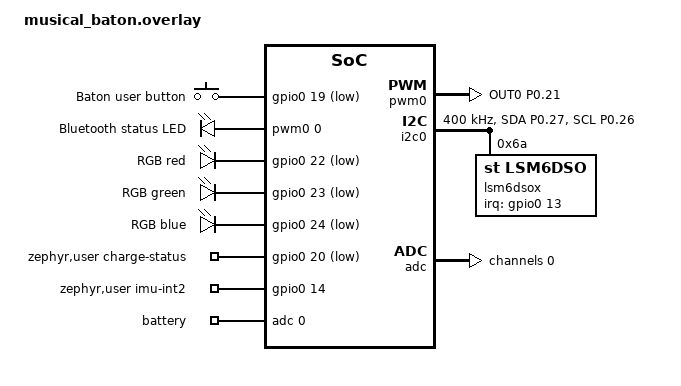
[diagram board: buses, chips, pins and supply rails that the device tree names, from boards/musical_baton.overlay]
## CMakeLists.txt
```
# SPDX-License-Identifier: Apache-2.0

cmake_minimum_required(VERSION 3.20.0)
find_package(Zephyr REQUIRED HINTS $ENV{ZEPHYR_BASE})
project(MusicalBaton)

target_sources(app PRIVATE
  src/main.c
  src/sensor.c
  src/conducting.c
  src/bluetooth.c
  src/device_name.c
  src/name_protocol.c
  src/button.c
  src/led.c
)

target_link_libraries(app PRIVATE m)
```

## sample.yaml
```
sample:
  name: MusicalBaton
tests:
  sample.musical_baton:
    tags:
      - LED
      - gpio
    filter: dt_enabled_alias_with_parent_compat("led0", "gpio-leds")
    depends_on: gpio
    harness: led
    integration_platforms:
      - frdm_k64f
```

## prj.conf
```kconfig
# GPIO and PWM-controlled status LED
CONFIG_GPIO=y
CONFIG_PWM=y

# Allow the long button hold to reboot the system
CONFIG_REBOOT=y

# I2C and Zephyr sensor driver for LSM6DSOX six-axis polling
CONFIG_I2C=y
CONFIG_SENSOR=y
CONFIG_LSM6DSO=y
CONFIG_LSM6DSO_TRIGGER_NONE=y

# Serial console output
CONFIG_SERIAL=y
CONFIG_CONSOLE=y
CONFIG_UART_CONSOLE=y
CONFIG_PRINTK=y
# Send printk directly to UART instead of batching it in the deferred logger.
CONFIG_LOG_PRINTK=n

# Logging
CONFIG_LOG=y
CONFIG_LOG_DEFAULT_LEVEL=3

# Bluetooth Low Energy
CONFIG_BT=y
CONFIG_BT_PERIPHERAL=y
CONFIG_BT_DEVICE_NAME="Smart Baton"
CONFIG_BT_DEVICE_NAME_DYNAMIC=y
CONFIG_BT_DEVICE_NAME_MAX=20
# All writes use the persistent name protocol, not Zephyr's volatile GAP setter.
CONFIG_BT_DEVICE_NAME_GATT_WRITABLE=n
# Application-owned persistent device names in the board's storage partition.
CONFIG_FLASH=y
CONFIG_FLASH_MAP=y
CONFIG_NVS=y
CONFIG_SETTINGS=y
CONFIG_SETTINGS_NVS=y
CONFIG_BT_MAX_CONN=1

# Ask for 15 ms connection events, no skipped events, and 4 s supervision.
# Zephyr requests these after the standard 5 s post-connect delay; iOS decides.
CONFIG_BT_GAP_PERIPHERAL_PREF_PARAMS=y
CONFIG_BT_GAP_AUTO_UPDATE_CONN_PARAMS=y
CONFIG_BT_PERIPHERAL_PREF_MIN_INT=12
CONFIG_BT_PERIPHERAL_PREF_MAX_INT=12
CONFIG_BT_PERIPHERAL_PREF_LATENCY=0
CONFIG_BT_PERIPHERAL_PREF_TIMEOUT=400
```

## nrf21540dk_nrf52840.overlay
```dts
#include <zephyr/dt-bindings/sensor/lsm6dso.h>

/* For more help, browse the devicetree documentation at https://docs.zephyrproject.org/latest/build/dts/index.html
 * You can also visit the nRF DeviceTree extension documentation at https://docs.nordicsemi.com/bundle/nrf-connect-vscode/page/guides/ncs_configure_app.html#devicetree-support-in-the-extension
 */
&pinctrl {
	i2c0_default: i2c0_default {
		group1 {
			psels = <NRF_PSEL(TWIM_SDA, 0, 26)>,
				<NRF_PSEL(TWIM_SCL, 0, 27)>;
		};
	};

	i2c0_sleep: i2c0_sleep {
		group1 {
			psels = <NRF_PSEL(TWIM_SDA, 0, 26)>,
				<NRF_PSEL(TWIM_SCL, 0, 27)>;
			low-power-enable;
		};
	};
};

&i2c0 {
	compatible = "nordic,nrf-twim";
	status = "okay";
	pinctrl-0 = <&i2c0_default>;
	pinctrl-1 = <&i2c0_sleep>;
	pinctrl-names = "default", "sleep";
	clock-frequency = <I2C_BITRATE_FAST>;

	lsm6dsox: imu@6a {
		/* sensor_init() waits for power-up before initializing the driver. */
		zephyr,deferred-init;
		/* Basic LSM6DSOX motion data uses the NCS LSM6DSO driver. */
		compatible = "st,lsm6dso";
		reg = <0x6a>;
		accel-range = <LSM6DSO_DT_FS_4G>;
		accel-odr = <LSM6DSO_DT_ODR_208Hz>;
		/* Accelerometer LPF2: 208 Hz / 10 = approximately 20.8 Hz. */
		accel-lp-filter = <LSM6DSO_DT_LP_ODR_DIV_10>;
		gyro-range = <LSM6DSO_DT_FS_1000DPS>;
		gyro-odr = <LSM6DSO_DT_ODR_208Hz>;
		status = "okay";
	};
};

/ {
	aliases {
		baton-imu = &lsm6dsox;
		baton-button = &button0;
	};
};
```

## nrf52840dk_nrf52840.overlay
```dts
#include <zephyr/dt-bindings/sensor/lsm6dso.h>
#include <zephyr/dt-bindings/pwm/pwm.h>

/ {
	aliases {
		baton-imu = &lsm6dsox;
		/* Development only: DK Button 1 on P0.11.
		 * The custom baton PCB maps its user button to P0.19.
		 */
		baton-button = &button0;

		/* Development only: external LED on exposed Arduino A0 / P0.03. */
		ble-led = &development_ble_led;
	};

	development-leds {
		compatible = "pwm-leds";

		development_ble_led: bluetooth_led {
			/* LED anode -> resistor -> P0.03; cathode -> GND. */
			pwms = <&pwm0 0 PWM_MSEC(1) PWM_POLARITY_NORMAL>;
			label = "Development Bluetooth LED";
		};
	};
};


&pinctrl {
	baton_pwm0_default: baton_pwm0_default {
		group1 {
			psels = <NRF_PSEL(PWM_OUT0, 0, 3)>;
		};
	};

	baton_pwm0_sleep: baton_pwm0_sleep {
		group1 {
			psels = <NRF_PSEL(PWM_OUT0, 0, 3)>;
			low-power-enable;
		};
	};

	/* DK IMU wiring now matches the PCB: SDA P0.27, SCL P0.26. */
	i2c0_default: i2c0_default {
		group1 {
			psels = <NRF_PSEL(TWIM_SDA, 0, 27)>,
				<NRF_PSEL(TWIM_SCL, 0, 26)>;
		};
	};

	i2c0_sleep: i2c0_sleep {
		group1 {
			psels = <NRF_PSEL(TWIM_SDA, 0, 27)>,
				<NRF_PSEL(TWIM_SCL, 0, 26)>;
			low-power-enable;
		};
	};
};

&pwm0 {
	status = "okay";
	pinctrl-0 = <&baton_pwm0_default>;
	pinctrl-1 = <&baton_pwm0_sleep>;
	pinctrl-names = "default", "sleep";
};

&i2c0 {
	compatible = "nordic,nrf-twim";
	status = "okay";

	pinctrl-0 = <&i2c0_default>;
	pinctrl-1 = <&i2c0_sleep>;
	pinctrl-names = "default", "sleep";

	clock-frequency = <I2C_BITRATE_FAST>;

	lsm6dsox: imu@6a {
		/* sensor_init() waits for power-up before initializing the driver. */
		zephyr,deferred-init;
		compatible = "st,lsm6dso";
		reg = <0x6a>;
		/* NCS uses the LSM6DSO driver for basic LSM6DSOX motion data. */
		accel-range = <LSM6DSO_DT_FS_4G>;
		accel-odr = <LSM6DSO_DT_ODR_417Hz>;
		/* Accelerometer LPF2: 416 Hz / 10 = approximately 41.6 Hz. */
		accel-lp-filter = <LSM6DSO_DT_LP_ODR_DIV_10>;
		gyro-range = <LSM6DSO_DT_FS_1000DPS>;
		gyro-odr = <LSM6DSO_DT_ODR_417Hz>;
		status = "okay";
	};
};
```

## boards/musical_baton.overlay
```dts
#include <zephyr/dt-bindings/sensor/lsm6dso.h>
/* Musical Baton custom PCB hardware map.
 *
 * This overlay is for the actual PCB, not the nRF52840 development kit.
 * While the project still builds on the nRF52840 DK board definition, select
 * this file explicitly as DTC_OVERLAY_FILE for a PCB build.
 */

#include <zephyr/dt-bindings/adc/adc.h>
#include <zephyr/dt-bindings/adc/nrf-saadc.h>
#include <zephyr/dt-bindings/gpio/gpio.h>
#include <zephyr/dt-bindings/pwm/pwm.h>

/ {
	aliases {
		baton-imu = &lsm6dsox;
		baton-button = &baton_button;
		ble-led = &ble_led;
		rgb-red-led = &rgb_red_led;
		rgb-green-led = &rgb_green_led;
		rgb-blue-led = &rgb_blue_led;
	};

	baton-buttons {
		compatible = "gpio-keys";

		baton_button: button_0 {
			/* SW1 pulls P0.19 low when pressed. */
			gpios = <&gpio0 19 (GPIO_ACTIVE_LOW | GPIO_PULL_UP)>;
			label = "Baton user button";
		};
	};

	baton-pwm-leds {
		compatible = "pwm-leds";

		/* The separate BLE LED has its cathode connected to ground. */
		ble_led: ble_led {
			pwms = <&pwm0 0 PWM_MSEC(1) PWM_POLARITY_NORMAL>;
			label = "Bluetooth status LED";
		};
	};

	baton-leds {
		compatible = "gpio-leds";

		/* The RGB LED is common-anode, so each color is active-low. */
		rgb_red_led: rgb_red_led {
			gpios = <&gpio0 22 GPIO_ACTIVE_LOW>;
			label = "RGB red";
		};

		rgb_green_led: rgb_green_led {
			gpios = <&gpio0 23 GPIO_ACTIVE_LOW>;
			label = "RGB green";
		};

		rgb_blue_led: rgb_blue_led {
			gpios = <&gpio0 24 GPIO_ACTIVE_LOW>;
			label = "RGB blue";
		};
	};

	/* Application-accessible PCB signals that do not have device drivers yet. */
	zephyr,user {
		io-channels = <&adc 0>;
		io-channel-names = "battery";
		charge-status-gpios = <&gpio0 20 (GPIO_ACTIVE_LOW | GPIO_PULL_UP)>;
		imu-int2-gpios = <&gpio0 14 GPIO_ACTIVE_HIGH>;
	};
};

/* The PCB uses P0.27 for SDA and P0.26 for SCL. */
&pinctrl {
	baton_pwm0_default: baton_pwm0_default {
		group1 {
			psels = <NRF_PSEL(PWM_OUT0, 0, 21)>;
		};
	};

	baton_pwm0_sleep: baton_pwm0_sleep {
		group1 {
			psels = <NRF_PSEL(PWM_OUT0, 0, 21)>;
			low-power-enable;
		};
	};

	baton_i2c0_default: baton_i2c0_default {
		group1 {
			psels = <NRF_PSEL(TWIM_SDA, 0, 27)>,
				<NRF_PSEL(TWIM_SCL, 0, 26)>;
		};
	};

	baton_i2c0_sleep: baton_i2c0_sleep {
		group1 {
			psels = <NRF_PSEL(TWIM_SDA, 0, 27)>,
				<NRF_PSEL(TWIM_SCL, 0, 26)>;
			low-power-enable;
		};
	};
};

&pwm0 {
	status = "okay";
	pinctrl-0 = <&baton_pwm0_default>;
	pinctrl-1 = <&baton_pwm0_sleep>;
	pinctrl-names = "default", "sleep";
};

&i2c0 {
	compatible = "nordic,nrf-twim";
	status = "okay";

	pinctrl-0 = <&baton_i2c0_default>;
	pinctrl-1 = <&baton_i2c0_sleep>;
	pinctrl-names = "default", "sleep";
	clock-frequency = <I2C_BITRATE_FAST>;

	/* LSM6DSOX SA0 is tied low on the PCB, selecting address 0x6A. */
	lsm6dsox: imu@6a {
		/* sensor_init() waits for power-up before initializing the driver. */
		zephyr,deferred-init;
		compatible = "st,lsm6dso";
		reg = <0x6a>;
		/* NCS uses the LSM6DSO driver for basic LSM6DSOX motion data. */
		accel-range = <LSM6DSO_DT_FS_4G>;
		accel-odr = <LSM6DSO_DT_ODR_417Hz>;
		/* Accelerometer LPF2: 416 Hz / 10 = approximately 41.6 Hz. */
		accel-lp-filter = <LSM6DSO_DT_LP_ODR_DIV_10>;
		gyro-range = <LSM6DSO_DT_FS_1000DPS>;
		gyro-odr = <LSM6DSO_DT_ODR_417Hz>;
		status = "okay";

		irq-gpios = <&gpio0 13 GPIO_ACTIVE_HIGH>;
		int-pin = <1>;
	};
};

/* P0.02 is AIN0 and measures the midpoint of the 1 MOhm/1 MOhm divider. */
&adc {
	status = "okay";
	#address-cells = <1>;
	#size-cells = <0>;

	channel@0 {
		reg = <0>;
		zephyr,gain = "ADC_GAIN_1_6";
		zephyr,reference = "ADC_REF_INTERNAL";
		zephyr,acquisition-time = <ADC_ACQ_TIME(ADC_ACQ_TIME_MICROSECONDS, 40)>;
		zephyr,input-positive = <NRF_SAADC_AIN0>;
		zephyr,resolution = <12>;
	};
};

/* These peripherals belong to the development kit and are absent on the PCB. */
&qspi {
	status = "disabled";
};

&led0 {
	status = "disabled";
};

&led1 {
	status = "disabled";
};

&led2 {
	status = "disabled";
};

&led3 {
	status = "disabled";
};

&button0 {
	status = "disabled";
};

&button1 {
	status = "disabled";
};

&button2 {
	status = "disabled";
};

&button3 {
	status = "disabled";
};
```

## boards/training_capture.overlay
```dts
/* Add after the hardware overlay for lossless 416 Hz dataset capture. */
/ {
	training_capture: training-capture {
		status = "okay";
	};
};

&uart0 {
	current-speed = <1000000>;
};
```

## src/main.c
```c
#include <zephyr/kernel.h>
#include <zephyr/device.h>
#include <zephyr/devicetree.h>
#include <zephyr/drivers/uart.h>
#include <zephyr/sys/byteorder.h>
#include <zephyr/sys/printk.h>
#include <zephyr/sys/reboot.h>

#include "bluetooth.h"
#include "button.h"
#include "conducting.h"
#include "led.h"
#include "sensor.h"

/* 1 / 416 Hz, rounded to the nearest whole microsecond. */
#define SENSOR_POLL_INTERVAL_US 2404
#define BLE_PUBLISH_INTERVAL_MS 50
/* Enable temporarily when inspecting raw sensor measurements. */
#define PRINT_MOTION_SAMPLES 0
/* Compact 40 Hz state stream for tuning with real conducting recordings. */
#define PRINT_CONDUCTING_DIAGNOSTICS 1
#define CONDUCTING_DIAGNOSTIC_INTERVAL_MS 25
#define TRAINING_CAPTURE_ENABLED DT_NODE_EXISTS(DT_NODELABEL(training_capture))

/* Adding boards/training_capture.overlay enables lossless 416 Hz binary dataset capture. The receiver scans for
 * the four-byte MBR1 marker, then sequence, timestamp, accel xyz and gyro xyz,
 * all little-endian. Disable ordinary diagnostics to preserve UART bandwidth. */
#if TRAINING_CAPTURE_ENABLED
static const struct device *const training_uart =
	DEVICE_DT_GET(DT_CHOSEN(zephyr_console));

static void stream_training_sample(const struct motion_sample *sample)
{
	static uint16_t sequence;
	uint8_t packet[22] = {'M', 'B', 'R', '1'};

	sys_put_le16(sequence++, &packet[4]);
	sys_put_le32(sample->timestamp_ms, &packet[6]);
	sys_put_le16((uint16_t)sample->accel_x_mg, &packet[10]);
	sys_put_le16((uint16_t)sample->accel_y_mg, &packet[12]);
	sys_put_le16((uint16_t)sample->accel_z_mg, &packet[14]);
	sys_put_le16((uint16_t)sample->gyro_x_dps_tenths, &packet[16]);
	sys_put_le16((uint16_t)sample->gyro_y_dps_tenths, &packet[18]);
	sys_put_le16((uint16_t)sample->gyro_z_dps_tenths, &packet[20]);

	for (size_t i = 0; i < sizeof(packet); i++) {
		uart_poll_out(training_uart, packet[i]);
	}
}
#endif

K_MSGQ_DEFINE(button_event_queue,
	      sizeof(struct button_event),
	      8,
	      4);

static void on_button_event(const struct button_event *event)
{
	/* Do not block inside the button handler. */
	k_msgq_put(&button_event_queue, event, K_NO_WAIT);
}

int main(void)
{
	int ret;
	int64_t next_ble_ms;
	int64_t next_diagnostic_ms;
	struct conducting_detector detector;
	conducting_reset(&detector);

	ret = led_init();
	if (ret < 0) {
		printk("LED initialization failed: %d\n", ret);
		return 0;
	}

	ret = sensor_init();
	if (ret < 0) {
		return 0;
	}

	ret = button_init(on_button_event);
	if (ret < 0) {
		printk("Button initialization failed: %d\n", ret);
		return 0;
	}

	ret = bluetooth_init();
	if (ret < 0) {
		return 0;
	}

	printk("Triple-press to toggle Bluetooth\n");
	printk("Double-press to recalibrate: hold still afterward\n");
	printk("Experimental beat detector: hold still for one second to calibrate\n");
	next_ble_ms = k_uptime_get();
	next_diagnostic_ms = next_ble_ms;

	while (1) {
		/* Use a fresh deadline each cycle; do not catch up in bursts. */
		int64_t cycle_start_us = k_ticks_to_us_floor64(k_uptime_ticks());
		int64_t cycle_start_ms = cycle_start_us / 1000;
		int64_t next_sample_us = cycle_start_us + SENSOR_POLL_INTERVAL_US;
		struct button_event event;
		struct motion_sample sample;


		while (k_msgq_get(&button_event_queue,
				  &event,
				  K_NO_WAIT) == 0) {
			if (event.type == BUTTON_EVENT_PRESSED) {
				printk("Baton button pressed\n");
			}

			if (event.type == BUTTON_EVENT_LONG_HOLD) {
				printk("Ten-second hold: rebooting\n");
				k_sleep(K_MSEC(100));
				sys_reboot(SYS_REBOOT_COLD);
			}

			if (event.type == BUTTON_EVENT_CLICKS) {
				printk("Detected %u clicks\n",
				       event.click_count);

				if (event.click_count == 2) {
					/* Reset on the main thread, after the complete click
					 * sequence; a triple-click must not recalibrate.
					 */
					conducting_reset(&detector);
					conducting_set_sensitivity(&detector,
						bluetooth_conducting_sensitivity());
					printk("Recalibration requested: hold still for one second\n");
				} else if (event.click_count == 3) {
					printk("Triple-click detected\n");

					if (bluetooth_is_active()) {
						ret = bluetooth_deactivate();
					} else {
						ret = bluetooth_activate();
					}

					if (ret < 0) {
						printk("Bluetooth toggle failed: %d\n", ret);
					}
				}
			}
		}

		ret = sensor_read(&sample);
		if (ret < 0) {
			printk("Sensor read failed: %d\n", ret);
			k_sleep(K_SECONDS(1));
			continue;
		}

		/* Submit beats before motion telemetry or UART work from this cycle. */
		bool was_calibrated = detector.calibrated;
		conducting_set_sensitivity(&detector, bluetooth_conducting_sensitivity());
		struct conducting_beat beat;
		bool have_beat = conducting_process(&detector, &sample, &beat);
		if (have_beat) {
			ret = bluetooth_publish_beat(beat.timestamp_ms, beat.bpm_tenths,
						     beat.strength);
			if (ret < 0) {
				printk("Bluetooth beat notification failed: %d\n", ret);
			}
		}

		/* Gate on cycle start so fetch jitter cannot skip alternate samples.
		 * Never retry a failed notification or catch up missed deadlines.
		 */
		if (bluetooth_is_active() && cycle_start_ms >= next_ble_ms) {
			next_ble_ms = cycle_start_ms + BLE_PUBLISH_INTERVAL_MS;
			const struct bluetooth_motion_sample motion_sample = {
				.timestamp_ms = sample.timestamp_ms,
				.flags = BLUETOOTH_MOTION_FLAG_ACCEL_VALID |
					 BLUETOOTH_MOTION_FLAG_GYRO_VALID,
				.accel_x_mg = sample.accel_x_mg,
				.accel_y_mg = sample.accel_y_mg,
				.accel_z_mg = sample.accel_z_mg,
				.gyro_x_dps_tenths = sample.gyro_x_dps_tenths,
				.gyro_y_dps_tenths = sample.gyro_y_dps_tenths,
				.gyro_z_dps_tenths = sample.gyro_z_dps_tenths,
			};

			ret = bluetooth_publish(&motion_sample);

			if (ret < 0) {
				printk("Bluetooth publish failed: %d\n",
				       ret);
			}
		}

		if (have_beat) {
			printk("BEAT: t=%u detected=%u strength=%u BPM=%u.%u\n",
			       beat.timestamp_ms, beat.detected_ms, beat.strength,
			       beat.bpm_tenths / 10, beat.bpm_tenths % 10);
		}
		if (detector.calibrated != was_calibrated) {
			printk(detector.calibrated ? "Beat detector calibrated\n" :
			       "Beat detector reset: hold still for one second\n");
		}

#if TRAINING_CAPTURE_ENABLED
		stream_training_sample(&sample);
#endif
#if PRINT_CONDUCTING_DIAGNOSTICS && !TRAINING_CAPTURE_ENABLED
		if (!bluetooth_is_connected() && cycle_start_ms >= next_diagnostic_ms) {
			next_diagnostic_ms = cycle_start_ms +
				CONDUCTING_DIAGNOSTIC_INTERVAL_MS;
			/* CD: time, gyro xyz (0.1 dps), accel xyz (mg),
			 * smoothed speed (0.1 dps),
			 * linear acceleration (mg), armed, release (0.1 dps),
			 * followed by eight reserved compatibility fields (currently zero).
			 */
			printk("CD,%u,%d,%d,%d,%d,%d,%d,%d,%d,%u,%d,%u,%u,%u,%d,%d,%u,%d\n",
			       sample.timestamp_ms,
			       sample.gyro_x_dps_tenths,
			       sample.gyro_y_dps_tenths,
			       sample.gyro_z_dps_tenths,
			       sample.accel_x_mg,
			       sample.accel_y_mg,
			       sample.accel_z_mg,
			       (int)(detector.speed * 10.0f),
			       0,
			       detector.armed,
			       (int)(detector.release_dps * 10.0f),
			       0, 0, 0, 0, 0, 0, 0);
		}
#endif
#if PRINT_MOTION_SAMPLES
		printk("IMU accel [mg]: X=%d Y=%d Z=%d | "
		       "gyro [0.1 deg/s]: X=%d Y=%d Z=%d\n",
		       sample.accel_x_mg, sample.accel_y_mg,
		       sample.accel_z_mg, sample.gyro_x_dps_tenths,
		       sample.gyro_y_dps_tenths, sample.gyro_z_dps_tenths);
#endif

		k_sleep(K_TIMEOUT_ABS_US(next_sample_us));
	}
}
```

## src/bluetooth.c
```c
#include "bluetooth.h"
#include "led.h"
#include "device_name.h"

#include <stdbool.h>
#include <string.h>
#include <zephyr/kernel.h>
#include <zephyr/sys/atomic.h>
#include <zephyr/sys/printk.h>
#include <zephyr/sys/byteorder.h>
#include <zephyr/bluetooth/bluetooth.h>
#include <zephyr/bluetooth/conn.h>
#include <zephyr/bluetooth/gatt.h>
#include <zephyr/bluetooth/hci.h>
#include <zephyr/bluetooth/uuid.h>

/*
 * Custom Bluetooth UUIDs
 *
 * Service:
 * 12345678-1234-5678-1234-56789abcdef0
 *
 * Motion characteristic:
 * 12345678-1234-5678-1234-56789abcdef1
 */
#define BT_UUID_MOTION_SERVICE_VAL \
	BT_UUID_128_ENCODE(0x12345678, 0x1234, 0x5678, \
			   0x1234, 0x56789abcdef0)

#define BT_UUID_MOTION_DATA_VAL \
	BT_UUID_128_ENCODE(0x12345678, 0x1234, 0x5678, \
			   0x1234, 0x56789abcdef1)

static struct bt_uuid_128 motion_service_uuid =
	BT_UUID_INIT_128(BT_UUID_MOTION_SERVICE_VAL);

static struct bt_uuid_128 motion_data_uuid =
	BT_UUID_INIT_128(BT_UUID_MOTION_DATA_VAL);

static struct bt_uuid_128 beat_data_uuid = BT_UUID_INIT_128(
	BT_UUID_128_ENCODE(0x12345678, 0x1234, 0x5678, 0x1234, 0x56789abcdef2));
static uint16_t beat_sequence;
static struct bt_uuid_128 conducting_settings_uuid = BT_UUID_INIT_128(
	BT_UUID_128_ENCODE(0x12345678, 0x1234, 0x5678, 0x1234, 0x56789abcdef3));
static struct bt_uuid_128 device_name_uuid = BT_UUID_INIT_128(
    BT_UUID_128_ENCODE(0x12345678, 0x1234, 0x5678, 0x1234, 0x56789abcdef4));
static atomic_t conducting_sensitivity;

static ssize_t read_device_name(struct bt_conn *conn, const struct bt_gatt_attr *attr,
                               void *buf, uint16_t len, uint16_t offset)
{
    uint8_t value[BATON_NAME_VALUE_MAX];
    size_t count = baton_device_name_snapshot(value);
    return bt_gatt_attr_read(conn, attr, buf, len, offset, value, count);
}

static ssize_t write_device_name(struct bt_conn *conn, const struct bt_gatt_attr *attr,
                                const void *buf, uint16_t len, uint16_t offset, uint8_t flags)
{
    ARG_UNUSED(conn);
    ARG_UNUSED(attr);
    if (flags & BT_GATT_WRITE_FLAG_PREPARE) { return BT_GATT_ERR(BT_ATT_ERR_NOT_SUPPORTED); }
    if (offset != 0) { return BT_GATT_ERR(BT_ATT_ERR_INVALID_OFFSET); }
    if (len == 0 || len > BATON_NAME_MAX_BYTES) { return BT_GATT_ERR(BT_ATT_ERR_INVALID_ATTRIBUTE_LEN); }
    int ret = baton_device_name_request(buf, len);
    if (ret == -EINVAL) { return BT_GATT_ERR(BT_ATT_ERR_VALUE_NOT_ALLOWED); }
    if (ret < 0) { return BT_GATT_ERR(BT_ATT_ERR_UNLIKELY); }
    return len;
}

uint8_t bluetooth_conducting_sensitivity(void)
{
	return (uint8_t)atomic_get(&conducting_sensitivity);
}

static ssize_t read_conducting_settings(struct bt_conn *conn,
	const struct bt_gatt_attr *attr, void *buf, uint16_t len, uint16_t offset)
{
	uint8_t packet[] = {1, 1, bluetooth_conducting_sensitivity(), 0};
	return bt_gatt_attr_read(conn, attr, buf, len, offset, packet, sizeof(packet));
}

static ssize_t write_conducting_settings(struct bt_conn *conn,
	const struct bt_gatt_attr *attr, const void *buf, uint16_t len,
	uint16_t offset, uint8_t flags)
{
	ARG_UNUSED(conn);
	ARG_UNUSED(attr);
	if (flags & BT_GATT_WRITE_FLAG_PREPARE) {
		return BT_GATT_ERR(BT_ATT_ERR_NOT_SUPPORTED);
	}
	if (offset != 0) {
		return BT_GATT_ERR(BT_ATT_ERR_INVALID_OFFSET);
	}
	if (len != 4) {
		return BT_GATT_ERR(BT_ATT_ERR_INVALID_ATTRIBUTE_LEN);
	}
	const uint8_t *packet = buf;
	if (packet[0] != 1 || packet[1] != 1 || packet[2] > 2 || packet[3] != 0) {
		return BT_GATT_ERR(BT_ATT_ERR_VALUE_NOT_ALLOWED);
	}
	/* The sampling thread applies this; never mutate detector state in BLE. */
	atomic_set(&conducting_sensitivity, packet[2]);
	return len;
}

/*
 * Fixed 20-byte motion packet, encoded explicitly in little-endian order:
 *
 * Byte 0:     packet version
 * Byte 1:     validity/status flags
 * Bytes 2-3:  sequence number
 * Bytes 4-7:  nRF uptime timestamp in milliseconds
 * Bytes 8-13: accelerometer X/Y/Z in mg
 * Bytes 14-19: gyroscope X/Y/Z in tenths of a degree per second
 */
#define MOTION_PACKET_SIZE 20U
#define ADVERTISING_TIMEOUT_MS 60000

static uint8_t motion_packet[MOTION_PACKET_SIZE];
static uint16_t motion_sequence;

static bool notifications_enabled;
static bool bluetooth_initialized;
static atomic_t bluetooth_active;
static atomic_t advertising;
static atomic_t phone_connected;

bool bluetooth_is_connected(void)
{
	return atomic_get(&phone_connected) != 0;
}

static struct bt_conn *current_connection;
static int64_t advertising_deadline_ms;
static K_MUTEX_DEFINE(connection_mutex);
static K_MUTEX_DEFINE(motion_packet_mutex);

/*
 * Called when the phone reads the characteristic manually.
 */
static ssize_t read_motion(
	struct bt_conn *conn,
	const struct bt_gatt_attr *attr,
	void *buf,
	uint16_t len,
	uint16_t offset)
{
	ssize_t result;

	k_mutex_lock(&motion_packet_mutex, K_FOREVER);
	result = bt_gatt_attr_read(
		conn,
		attr,
		buf,
		len,
		offset,
		motion_packet,
		sizeof(motion_packet)
	);
	k_mutex_unlock(&motion_packet_mutex);

	return result;
}

/*
 * Called when the phone enables or disables notifications.
 */
static void motion_ccc_changed(
	const struct bt_gatt_attr *attr,
	uint16_t value)
{
	ARG_UNUSED(attr);

	notifications_enabled = (value == BT_GATT_CCC_NOTIFY);

	printk(
		"Notifications %s\n",
		notifications_enabled ? "enabled" : "disabled"
	);
}

/*
 * Attribute indexes:
 *
 * motion_service.attrs[0] = primary service
 * motion_service.attrs[1] = characteristic declaration
 * motion_service.attrs[2] = characteristic value
 * motion_service.attrs[3] = CCC descriptor
 */
BT_GATT_SERVICE_DEFINE(
	motion_service,

	BT_GATT_PRIMARY_SERVICE(&motion_service_uuid),

	BT_GATT_CHARACTERISTIC(
		&motion_data_uuid.uuid,
		BT_GATT_CHRC_READ | BT_GATT_CHRC_NOTIFY,
		BT_GATT_PERM_READ,
		read_motion,
		NULL,
		motion_packet
	),

	BT_GATT_CCC(
		motion_ccc_changed,
		BT_GATT_PERM_READ | BT_GATT_PERM_WRITE
	),
	/* Notify-only: subscribing must never replay an old beat as a sound. */
	BT_GATT_CHARACTERISTIC(&beat_data_uuid.uuid, BT_GATT_CHRC_NOTIFY,
			       BT_GATT_PERM_NONE, NULL, NULL, NULL),
	BT_GATT_CCC(NULL, BT_GATT_PERM_READ | BT_GATT_PERM_WRITE),
	BT_GATT_CHARACTERISTIC(&conducting_settings_uuid.uuid,
		BT_GATT_CHRC_READ | BT_GATT_CHRC_WRITE,
		BT_GATT_PERM_READ | BT_GATT_PERM_WRITE,
		read_conducting_settings, write_conducting_settings, NULL),
    /* Append only: existing motion/beat attribute indexes remain unchanged. */
    BT_GATT_CHARACTERISTIC(&device_name_uuid.uuid,
        BT_GATT_CHRC_READ | BT_GATT_CHRC_WRITE,
        BT_GATT_PERM_READ | BT_GATT_PERM_WRITE,
        read_device_name, write_device_name, NULL)
);

/* Shared baton type identifier stays constant when a device is renamed.
 * Flags + full 128-bit UUID use 21 of the 31 legacy advertising bytes.
 * The complete current name (up to 20 UTF-8 bytes) fits in the scan response.
 */
static const struct bt_data advertising_data[] = {
    BT_DATA_BYTES(BT_DATA_FLAGS, BT_LE_AD_GENERAL | BT_LE_AD_NO_BREDR),
    BT_DATA_BYTES(BT_DATA_UUID128_ALL, BT_UUID_MOTION_SERVICE_VAL)
};

static void advertising_timeout_handler(struct k_work *work);
static K_WORK_DELAYABLE_DEFINE(advertising_timeout_work,
			       advertising_timeout_handler);

static void advertising_timeout_handler(struct k_work *work)
{
	ARG_UNUSED(work);

	/* Serialize expiry with connection acceptance and advertising starts. */
	k_mutex_lock(&connection_mutex, K_FOREVER);
	if (!atomic_get(&bluetooth_active) || !atomic_get(&advertising) ||
	    current_connection != NULL) {
		k_mutex_unlock(&connection_mutex);
		return;
	}

	int64_t remaining_ms = advertising_deadline_ms - k_uptime_get();

	if (remaining_ms > 0) {
		/* An old queued expiry must not close a newly opened window. */
		k_work_reschedule(&advertising_timeout_work, K_MSEC(remaining_ms));
		k_mutex_unlock(&connection_mutex);
		return;
	}

	int ret = bt_le_adv_stop();

	if (ret < 0) {
		printk("Advertising timeout: failed to stop (%d); retrying\n", ret);
		k_work_reschedule(&advertising_timeout_work, K_SECONDS(1));
		k_mutex_unlock(&connection_mutex);
		return;
	}

	atomic_clear(&advertising);
	atomic_clear(&bluetooth_active);
	led_set_bluetooth_state(LED_BLUETOOTH_OFF);
	printk("Advertising timed out after 60 seconds; Bluetooth inactive. "
	       "Triple-press to restart\n");
	k_mutex_unlock(&connection_mutex);
}

static int start_advertising(void)
{
	int ret;

	k_mutex_lock(&connection_mutex, K_FOREVER);
	if (!atomic_get(&bluetooth_active)) {
		k_mutex_unlock(&connection_mutex);
		return -EACCES;
	}

	if (atomic_get(&advertising) || current_connection != NULL) {
		k_mutex_unlock(&connection_mutex);
		return 0;
	}

    char name[BATON_NAME_MAX_BYTES + 1];
    baton_device_name_copy(name);
    const struct bt_data scan_response_data[] = {
        BT_DATA(BT_DATA_NAME_COMPLETE, name, strlen(name))
    };

	ret = bt_le_adv_start(
		BT_LE_ADV_CONN_FAST_1,
		advertising_data,
		ARRAY_SIZE(advertising_data),
		scan_response_data,
		ARRAY_SIZE(scan_response_data)
	);

	if (ret < 0) {
		printk("Advertising failed: %d\n", ret);
		k_mutex_unlock(&connection_mutex);
		return ret;
	}

	atomic_set(&advertising, 1);
	advertising_deadline_ms = k_uptime_get() + ADVERTISING_TIMEOUT_MS;
	k_work_reschedule(&advertising_timeout_work,
			  K_MSEC(ADVERTISING_TIMEOUT_MS));
	led_set_bluetooth_state(LED_BLUETOOTH_ADVERTISING);
	printk("Advertising as %s (60-second connection window)\n",
	       name);
	k_mutex_unlock(&connection_mutex);

	return 0;
}

static void advertising_restart_handler(struct k_work *work)
{
	int ret;

	if (!atomic_get(&bluetooth_active)) {
		return;
	}

	ret = start_advertising();
	if (ret < 0 && atomic_get(&bluetooth_active)) {
		printk("Retrying advertising restart\n");
		k_work_reschedule(k_work_delayable_from_work(work),
				  K_MSEC(500));
	}
}

static K_WORK_DELAYABLE_DEFINE(advertising_restart_work,
			       advertising_restart_handler);

static void schedule_advertising_restart(void)
{
	if (atomic_get(&bluetooth_active)) {
		k_work_reschedule(&advertising_restart_work, K_MSEC(100));
	}
}

static void log_link_parameters(uint16_t interval, uint16_t latency, uint16_t timeout)
{
	/* Interval unit 1.25 ms, supervision unit 10 ms. Actual negotiated values. */
	printk("BLE link: interval=%u.%02u ms latency=%u timeout=%u ms\n",
	       interval * 125U / 100U, interval * 125U % 100U,
	       latency, timeout * 10U);
}

static void le_param_updated(struct bt_conn *conn, uint16_t interval,
			     uint16_t latency, uint16_t timeout)
{
	ARG_UNUSED(conn);
	log_link_parameters(interval, latency, timeout);
}

static void connected(struct bt_conn *conn, uint8_t err)
{
	if (err != 0U) {
		printk("Bluetooth connection failed: 0x%02x\n", err);
		atomic_clear(&advertising);
		schedule_advertising_restart();
		return;
	}

	k_mutex_lock(&connection_mutex, K_FOREVER);
	atomic_clear(&advertising);
	k_work_cancel_delayable(&advertising_timeout_work);

	/* A deactivation may race with the controller completing a connection. */
	if (!atomic_get(&bluetooth_active)) {
		k_mutex_unlock(&connection_mutex);
		bt_conn_disconnect(conn, BT_HCI_ERR_REMOTE_USER_TERM_CONN);
		return;
	}

	current_connection = bt_conn_ref(conn);
	atomic_set(&phone_connected, 1);
	led_set_bluetooth_state(LED_BLUETOOTH_CONNECTED);
	k_mutex_unlock(&connection_mutex);
	printk("Phone connected; requesting 15 ms / latency 0 after GAP delay\n");
	struct bt_conn_info info;
	if (bt_conn_get_info(conn, &info) == 0) {
		log_link_parameters(info.le.interval, info.le.latency, info.le.timeout);
	}
}

static void disconnected(struct bt_conn *conn, uint8_t reason)
{
	ARG_UNUSED(conn);

	printk("Phone disconnected: 0x%02x\n", reason);
	notifications_enabled = false;
	atomic_clear(&phone_connected);

	k_mutex_lock(&connection_mutex, K_FOREVER);
	if (current_connection != NULL) {
		bt_conn_unref(current_connection);
		current_connection = NULL;
	}
	k_mutex_unlock(&connection_mutex);

	led_set_bluetooth_state(atomic_get(&bluetooth_active) ?
				LED_BLUETOOTH_ADVERTISING : LED_BLUETOOTH_OFF);

	/* Let the controller finish disconnecting before advertising again. */
	schedule_advertising_restart();
}

BT_CONN_CB_DEFINE(connection_callbacks) = {
	.connected = connected,
	.disconnected = disconnected,
	.le_param_updated = le_param_updated,
};

int bluetooth_init(void)
{
	int ret;

	if (bluetooth_initialized) {
		return 0;
	}

	ret = bt_enable(NULL);
	if (ret < 0) {
		printk("Bluetooth initialization failed: %d\n", ret);
		return ret;
	}

    ret = baton_device_name_init();
    if (ret < 0) {
        printk("Device name storage initialization failed: %d\n", ret);
        return ret;
    }
	motion_packet[0] = BLUETOOTH_MOTION_PACKET_VERSION;
	bluetooth_initialized = true;
	led_set_bluetooth_state(LED_BLUETOOTH_OFF);
	printk("Bluetooth initialized; advertising is off\n");

	return 0;
}

int bluetooth_activate(void)
{
	int ret;

	if (!bluetooth_initialized) {
		return -EACCES;
	}

	if (!atomic_cas(&bluetooth_active, 0, 1)) {
		return 0;
	}

	ret = start_advertising();
	if (ret < 0) {
		atomic_clear(&bluetooth_active);
		return ret;
	}

	printk("Bluetooth active\n");
	return 0;
}

int bluetooth_deactivate(void)
{
	struct bt_conn *conn = NULL;
	int ret = 0;
	int disconnect_ret;

	if (!atomic_cas(&bluetooth_active, 1, 0)) {
		return 0;
	}

	/* Clear this first so the disconnect callback does not advertise again. */
	k_work_cancel_delayable(&advertising_restart_work);
	notifications_enabled = false;
	led_set_bluetooth_state(LED_BLUETOOTH_OFF);

	if (atomic_cas(&advertising, 1, 0)) {
		ret = bt_le_adv_stop();
		if (ret < 0) {
			printk("Failed to stop advertising: %d\n", ret);
		}
	}

	k_mutex_lock(&connection_mutex, K_FOREVER);
	if (current_connection != NULL) {
		conn = bt_conn_ref(current_connection);
	}
	k_mutex_unlock(&connection_mutex);

	if (conn != NULL) {
		disconnect_ret = bt_conn_disconnect(
			conn,
			BT_HCI_ERR_REMOTE_USER_TERM_CONN
		);
		bt_conn_unref(conn);

		if (disconnect_ret < 0) {
			printk("Failed to disconnect phone: %d\n", disconnect_ret);
			if (ret == 0) {
				ret = disconnect_ret;
			}
		}
	}

	printk("Bluetooth inactive\n");
	return ret;
}

bool bluetooth_is_active(void)
{
	return atomic_get(&bluetooth_active) != 0;
}


int bluetooth_publish(const struct bluetooth_motion_sample *sample)
{
	int ret = 0;

	if (sample == NULL) {
		return -EINVAL;
	}

	k_mutex_lock(&motion_packet_mutex, K_FOREVER);

	motion_packet[0] = BLUETOOTH_MOTION_PACKET_VERSION;
	motion_packet[1] = sample->flags;
	sys_put_le16(motion_sequence++, &motion_packet[2]);
	sys_put_le32(sample->timestamp_ms, &motion_packet[4]);

	sys_put_le16((uint16_t)sample->accel_x_mg, &motion_packet[8]);
	sys_put_le16((uint16_t)sample->accel_y_mg, &motion_packet[10]);
	sys_put_le16((uint16_t)sample->accel_z_mg, &motion_packet[12]);

	sys_put_le16((uint16_t)sample->gyro_x_dps_tenths,
		     &motion_packet[14]);
	sys_put_le16((uint16_t)sample->gyro_y_dps_tenths,
		     &motion_packet[16]);
	sys_put_le16((uint16_t)sample->gyro_z_dps_tenths,
		     &motion_packet[18]);

	if (notifications_enabled) {
		ret = bt_gatt_notify(NULL, &motion_service.attrs[2],
				     motion_packet, sizeof(motion_packet));
	}

	k_mutex_unlock(&motion_packet_mutex);
	return ret;
}

int bluetooth_publish_beat(uint32_t timestamp_ms, uint16_t bpm_tenths,
			   uint8_t strength)
{
	uint8_t packet[12] = {1, 1};
	sys_put_le16(beat_sequence++, &packet[2]);
	sys_put_le32(timestamp_ms, &packet[4]);
	sys_put_le16(bpm_tenths, &packet[8]);
	packet[10] = strength;
	struct bt_conn *conn = NULL;

	/* Take a reference under the lock; notification may block, so send after
	 * releasing it. CCC state belongs to this specific live connection.
	 */
	k_mutex_lock(&connection_mutex, K_FOREVER);
	if (atomic_get(&bluetooth_active) && current_connection != NULL) {
		conn = bt_conn_ref(current_connection);
	}
	k_mutex_unlock(&connection_mutex);
	if (conn == NULL) {
		return 0;
	}
	int ret = 0;
	if (bt_gatt_is_subscribed(conn, &motion_service.attrs[5], BT_GATT_CCC_NOTIFY)) {
		ret = bt_gatt_notify(conn, &motion_service.attrs[5], packet, sizeof(packet));
	}
	bt_conn_unref(conn);
	return ret;
}
```

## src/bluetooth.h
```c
#ifndef MUSICAL_BATON_BLUETOOTH_H
#define MUSICAL_BATON_BLUETOOTH_H

#include <stdbool.h>
#include <stdint.h>

#define BLUETOOTH_MOTION_PACKET_VERSION 1U

#define BLUETOOTH_MOTION_FLAG_ACCEL_VALID (1U << 0)
#define BLUETOOTH_MOTION_FLAG_GYRO_VALID  (1U << 1)
#define BLUETOOTH_MOTION_FLAG_TIME_SYNCED (1U << 2)

struct bluetooth_motion_sample {
	uint32_t timestamp_ms;
	uint8_t flags;

	int16_t accel_x_mg;
	int16_t accel_y_mg;
	int16_t accel_z_mg;

	/* Gyroscope units are tenths of a degree per second. */
	int16_t gyro_x_dps_tenths;
	int16_t gyro_y_dps_tenths;
	int16_t gyro_z_dps_tenths;
};

int bluetooth_init(void);
int bluetooth_activate(void);
int bluetooth_deactivate(void);
bool bluetooth_is_active(void);
/* Used to suppress high-volume UART diagnostics during phone playback. */
bool bluetooth_is_connected(void);
/* Requested sensitivity, set via versioned ...def3 read/write characteristic. */
uint8_t bluetooth_conducting_sensitivity(void);

/*
 * Update and optionally notify the fixed 20-byte motion packet.
 * Sequence numbers are assigned by the Bluetooth module.
 */
int bluetooth_publish(const struct bluetooth_motion_sample *sample);

/* Notify a fresh beat only; no retained/readable event and no retries.
 * 12 bytes: version=1, type=1, sequence LE16, uptime LE32, BPM*10 LE16,
 * strength (0..100), reserved=0. UUID ends in def2, under the motion service.
 */
int bluetooth_publish_beat(uint32_t timestamp_ms, uint16_t bpm_tenths,
			   uint8_t strength);

#endif
```

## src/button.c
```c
#include "button.h"

#include <stdbool.h>
#include <zephyr/device.h>
#include <zephyr/devicetree.h>
#include <zephyr/drivers/gpio.h>
#include <zephyr/kernel.h>
#include <zephyr/sys/printk.h>

#define BUTTON_NODE DT_ALIAS(baton_button)

#define DEBOUNCE_TIME   K_MSEC(30)
#define CLICK_WINDOW    K_MSEC(600)
#define LONG_HOLD_TIME  K_SECONDS(10)

static const struct gpio_dt_spec button =
	GPIO_DT_SPEC_GET(BUTTON_NODE, gpios);

static struct gpio_callback button_callback;
static struct k_work_delayable debounce_work;
static struct k_work_delayable click_work;
static struct k_work_delayable long_hold_work;

static button_event_handler_t event_handler;

static bool pressed;
static bool long_hold_reported;
static uint8_t click_count;

static void report_event(enum button_event_type type, uint8_t count)
{
	struct button_event event = {
		.type = type,
		.click_count = count,
	};

	if (event_handler != NULL) {
		event_handler(&event);
	}
}

static void click_work_handler(struct k_work *work)
{
	ARG_UNUSED(work);

	if (click_count > 0) {
		report_event(BUTTON_EVENT_CLICKS, click_count);
		click_count = 0;
	}
}

static void long_hold_work_handler(struct k_work *work)
{
	ARG_UNUSED(work);

	/* Confirm that the button is still held. */
	if (gpio_pin_get_dt(&button) == 1) {
		long_hold_reported = true;
		click_count = 0;
		k_work_cancel_delayable(&click_work);

		report_event(BUTTON_EVENT_LONG_HOLD, 0);
	}
}

static void debounce_work_handler(struct k_work *work)
{
	bool now_pressed;

	ARG_UNUSED(work);

	now_pressed = gpio_pin_get_dt(&button) == 1;

	if (now_pressed == pressed) {
		return;
	}

	pressed = now_pressed;

	if (pressed) {
		report_event(BUTTON_EVENT_PRESSED, 0);
		long_hold_reported = false;
		k_work_reschedule(&long_hold_work, LONG_HOLD_TIME);
		return;
	}

	k_work_cancel_delayable(&long_hold_work);

	if (long_hold_reported) {
		long_hold_reported = false;
		return;
	}

	click_count++;

	/*
	 * Restart the window after every click. Once no additional click
	 * arrives for 600 ms, the complete click count is reported.
	 */
	k_work_reschedule(&click_work, CLICK_WINDOW);
}

static void button_interrupt(
	const struct device *device,
	struct gpio_callback *callback,
	gpio_port_pins_t pins)
{
	ARG_UNUSED(device);
	ARG_UNUSED(callback);
	ARG_UNUSED(pins);

	k_work_reschedule(&debounce_work, DEBOUNCE_TIME);
}

int button_init(button_event_handler_t handler)
{
	int ret;

	if (!gpio_is_ready_dt(&button)) {
		printk("Button GPIO is not ready\n");
		return -ENODEV;
	}

	event_handler = handler;

	k_work_init_delayable(&debounce_work, debounce_work_handler);
	k_work_init_delayable(&click_work, click_work_handler);
	k_work_init_delayable(&long_hold_work, long_hold_work_handler);

	ret = gpio_pin_configure_dt(&button, GPIO_INPUT);
	if (ret < 0) {
		return ret;
	}

	gpio_init_callback(
		&button_callback,
		button_interrupt,
		BIT(button.pin)
	);

	ret = gpio_add_callback(button.port, &button_callback);
	if (ret < 0) {
		return ret;
	}

	ret = gpio_pin_interrupt_configure_dt(
		&button,
		GPIO_INT_EDGE_BOTH
	);

	if (ret < 0) {
		return ret;
	}

	printk("Button initialized: %s pin %u\n",
	       button.port->name, button.pin);
	return 0;
}
```

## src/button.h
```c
#ifndef BUTTON_H
#define BUTTON_H

#include <stdint.h>

enum button_event_type {
	BUTTON_EVENT_CLICKS,
	BUTTON_EVENT_LONG_HOLD,
	BUTTON_EVENT_PRESSED,
};

struct button_event {
	enum button_event_type type;
	uint8_t click_count;
};

typedef void (*button_event_handler_t)(const struct button_event *event);

int button_init(button_event_handler_t handler);

#endif
```

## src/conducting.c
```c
#include "conducting.h"

#include <math.h>
#include <string.h>

/* Physical units: mg, degrees/second, milliseconds. Tune on labeled recordings. */
static const struct {
	float min_stroke_dps, min_accel_mg, release_fraction, straight_mg;
} sensitivity_settings[] = {
	{30.0f, 80.0f, 0.55f, 120.0f}, /* Balanced: existing default. */
	{40.0f, 120.0f, 0.45f, 180.0f}, /* Deliberate: firmer strokes. */
	{22.0f, 55.0f, 0.60f, 80.0f}, /* Gentle: smaller strokes; more false-trigger risk. */
};
#define SPEED_SMOOTHING_MS 15.0f
/* Speed must fall this far below the stroke maximum to confirm a peak. */
#define PEAK_CONFIRM_FRACTION 0.85f
#define MIN_STROKE_MS 100U
#define MIN_BEAT_SEPARATION_MS 250U
#define MAX_BEAT_MS 2000U
#define MAX_GAP_MS 250U

static float norm(const float v[3])
{
	return sqrtf(v[0]*v[0] + v[1]*v[1] + v[2]*v[2]);
}

void conducting_reset(struct conducting_detector *d)
{
	memset(d, 0, sizeof(*d));
}

static void clear_stroke(struct conducting_detector *d)
{
	d->armed = false;
	d->peak = d->accel_peak = 0.0f;
	d->peak_ms = 0;
}

void conducting_set_sensitivity(struct conducting_detector *d, uint8_t id)
{
	if (id > 2 || id == d->sensitivity) {
		return;
	}
	d->sensitivity = id;
	clear_stroke(d);
	memset(&d->straight, 0, sizeof(d->straight));
	d->speed = 0.0f;
	d->release_dps = 0.0f;
	d->have_beat = false;
	d->interval_count = 0;
}

static uint16_t tempo(struct conducting_detector *d, uint32_t t)
{
	if (d->have_beat) {
		uint32_t interval = t - d->last_beat_ms;
		if (interval >= MIN_BEAT_SEPARATION_MS && interval <= MAX_BEAT_MS) {
			if (d->interval_count == 5) {
				memmove(d->intervals, d->intervals + 1, 4 * sizeof(uint16_t));
				d->interval_count--;
			}
			d->intervals[d->interval_count++] = (uint16_t)interval;
		} else {
			d->interval_count = 0;
		}
	}
	d->have_beat = true;
	d->last_beat_ms = t;
	if (d->interval_count < 3) {
		return 0;
	}
	uint16_t sorted[5];
	memcpy(sorted, d->intervals, d->interval_count * sizeof(uint16_t));
	for (unsigned i = 1; i < d->interval_count; i++) {
		for (unsigned j = i; j > 0 && sorted[j] < sorted[j-1]; j--) {
			uint16_t swap = sorted[j];
			sorted[j] = sorted[j-1];
			sorted[j-1] = swap;
		}
	}
	uint16_t median = sorted[d->interval_count / 2];
	/* Suppress misleading BPM when intervals disagree by more than 20%. */
	if (sorted[0] < median * 0.8f || sorted[d->interval_count-1] > median * 1.2f) {
		return 0;
	}
	return (uint16_t)(600000U / median);
}

/* Require both event-time and delivery-time separation across detector paths.
 * Reject an older candidate rather than interpreting unsigned underflow as a gap.
 */
static bool separated(const struct conducting_detector *d, uint32_t peak, uint32_t now)
{
	uint32_t gap = peak - d->last_beat_ms;
	return !d->have_beat || (gap >= MIN_BEAT_SEPARATION_MS && gap <= INT32_MAX &&
				now - d->last_emitted_ms >= MIN_BEAT_SEPARATION_MS);
}

static void straight_release(struct straight_stroke *s)
{
	s->phase = 3;
	s->quiet_ms = 0;
}

/* Only a low-rotation, directionally coherent drive followed by opposite
 * braking qualifies. A one-sided bump, static tilt, or vibration is insufficient.
 * No velocity integration or fixed sensor/world axis is assumed.
 */
static bool straight_process(struct conducting_detector *d, const float linear[3],
			     float rotation, uint32_t dt, uint32_t now,
			     struct conducting_beat *beat)
{
	struct straight_stroke *s = &d->straight;
	float floor = sensitivity_settings[d->sensitivity].straight_mg;
	for (unsigned i = 0; i < 3; i++) {
		s->filtered[i] += (float)dt / (15.0f + dt) * (linear[i] - s->filtered[i]);
	}
	float magnitude = norm(s->filtered);
	if (rotation >= sensitivity_settings[d->sensitivity].min_stroke_dps) {
		straight_release(s);
		return false;
	}
	if (s->phase == 3) {
		s->quiet_ms = magnitude < floor * 0.35f ? s->quiet_ms + dt : 0;
		if (s->quiet_ms >= 120) { s->phase = 0; }
		return false;
	}
	if (s->phase == 0) {
		if (magnitude < floor) { return false; }
		s->phase = 1;
		s->start_ms = now;
		s->drive_ms = 0;
		s->drive_impulse = s->brake_impulse = s->brake_peak = 0;
		for (unsigned i = 0; i < 3; i++) { s->direction[i] = s->filtered[i] / magnitude; }
	}
	if (now - s->start_ms > 800) { straight_release(s); return false; }
	float projection = 0;
	for (unsigned i = 0; i < 3; i++) { projection += s->filtered[i] * s->direction[i]; }
	/* Reject significant sideways motion relative to this stroke's own axis. */
	if (magnitude >= floor && fabsf(projection) < 0.8f * magnitude) {
		straight_release(s);
		return false;
	}
	if (s->phase == 1) {
		if (projection >= floor * 0.5f) {
			s->drive_ms += dt;
			s->drive_impulse += projection * dt * 0.001f;
		}
		if (projection > -floor * 0.6f) { return false; }
		if (s->drive_ms < 40 || s->drive_impulse < 8.0f) {
			straight_release(s);
			return false;
		}
		s->phase = 2;
		s->brake_ms = now;
	}
	float braking = fmaxf(0, -projection);
	s->brake_impulse += braking * dt * 0.001f;
	if (braking > s->brake_peak) { s->brake_peak = braking; s->peak_ms = now; }
	if (braking >= s->brake_peak * 0.6f) { return false; }
	bool accepted = now - s->brake_ms >= 40 && now - s->start_ms >= 100 &&
		s->brake_peak >= floor && s->brake_impulse >= 8.0f &&
		s->brake_impulse >= 0.4f * s->drive_impulse && separated(d, s->peak_ms, now);
	if (accepted) {
		beat->timestamp_ms = s->peak_ms;
		beat->detected_ms = now;
		beat->strength = (uint8_t)(50.0f * fminf(1, s->brake_peak / (2 * floor)) +
			50.0f * fminf(1, s->brake_impulse / s->drive_impulse));
		beat->bpm_tenths = tempo(d, s->peak_ms);
		d->last_emitted_ms = now;
		clear_stroke(d);
	}
	straight_release(s);
	return accepted;
}

bool conducting_process(struct conducting_detector *d,
			const struct motion_sample *s, struct conducting_beat *beat)
{
	float a[3] = {s->accel_x_mg, s->accel_y_mg, s->accel_z_mg};
	float w[3] = {s->gyro_x_dps_tenths * 0.1f,
		      s->gyro_y_dps_tenths * 0.1f, s->gyro_z_dps_tenths * 0.1f};
	uint32_t dt_ms = s->timestamp_ms - d->previous_ms;
	if (d->started && (dt_ms == 0 || dt_ms > INT32_MAX)) {
		return false; /* Duplicate or out-of-order; normal uptime wrap is valid. */
	}
	if (!d->started || dt_ms > MAX_GAP_MS) {
		uint8_t sensitivity = d->sensitivity;
		conducting_reset(d);
		d->sensitivity = sensitivity;
		d->started = true;
		d->previous_ms = s->timestamp_ms;
		memcpy(d->calibration_accel, a, sizeof(a));
		return false;
	}
	d->previous_ms = s->timestamp_ms;
	float an = norm(a);
	if (!d->calibrated) {
		float change[3];
		for (unsigned i = 0; i < 3; i++) {
			change[i] = a[i] - d->calibration_accel[i];
		}
		if (fabsf(an - 1000.0f) > 80.0f || norm(w) > 5.0f || norm(change) > 60.0f) {
			d->calibration_ms = 0;
			memset(d->bias, 0, sizeof(d->bias));
			memcpy(d->calibration_accel, a, sizeof(a));
			return false;
		}
		float weight = (float)dt_ms / (d->calibration_ms + dt_ms);
		for (unsigned i = 0; i < 3; i++) {
			d->bias[i] += weight * (w[i] - d->bias[i]);
			d->gravity[i] = a[i] * (1000.0f / an);
		}
		d->calibration_ms += dt_ms;
		d->calibrated = d->calibration_ms >= 1000;
		return false;
	}
	for (unsigned i = 0; i < 3; i++) {
		w[i] -= d->bias[i];
	}
	/* Rotate gravity into the new body frame with -omega (Rodrigues).
	 * Accelerometer correction is deliberately weak and gated during motion.
	 */
	float wn = norm(w);
	float angle = wn * 0.01745329252f * dt_ms * 0.001f;
	if (wn > 0.001f) {
		float u[3] = {w[0]/wn, w[1]/wn, w[2]/wn};
		float *g = d->gravity;
		float cross[3] = {u[1]*g[2]-u[2]*g[1], u[2]*g[0]-u[0]*g[2],
				  u[0]*g[1]-u[1]*g[0]};
		float dot = u[0]*g[0]+u[1]*g[1]+u[2]*g[2];
		float c = cosf(angle), sn = sinf(angle);
		for (unsigned i = 0; i < 3; i++) {
			g[i] = c*g[i] - sn*cross[i] + (1.0f-c)*u[i]*dot;
		}
	}
	float linear[3];
	for (unsigned i = 0; i < 3; i++) {
		linear[i] = a[i] - d->gravity[i];
	}
	float acceleration = norm(linear);
	if (fabsf(an - 1000.0f) < 80.0f && acceleration < 150.0f && wn < 20.0f) {
		float alpha = (float)dt_ms / (2000.0f + dt_ms);
		for (unsigned i = 0; i < 3; i++) {
			d->gravity[i] += alpha * (a[i] * (1000.0f/an) - d->gravity[i]);
		}
		float gn = norm(d->gravity);
		for (unsigned i = 0; i < 3; i++) {
			d->gravity[i] *= 1000.0f / gn;
		}
	}
	float previous_speed = d->speed;
	d->speed += ((float)dt_ms / (SPEED_SMOOTHING_MS + dt_ms)) * (wn - d->speed);
	if (d->have_beat && s->timestamp_ms - d->last_beat_ms > MAX_BEAT_MS) {
		d->have_beat = false;
		d->interval_count = 0;
	}
	if (straight_process(d, linear, wn, dt_ms, s->timestamp_ms, beat)) {
		return true;
	}
	if (d->armed && s->timestamp_ms - d->stroke_ms > 1500) {
		clear_stroke(d);
		return false;
	}
	if (!d->armed) {
		/* After a peak, speed must fall well below it before a new stroke
		 * can arm, so wobble on the falling side cannot retrigger.
		 */
		if (d->release_dps > 0.0f) {
			if (d->speed > d->release_dps) {
				return false;
			}
			d->release_dps = 0.0f;
		}
		if (d->speed < sensitivity_settings[d->sensitivity].min_stroke_dps || d->speed <= previous_speed ||
		    (d->have_beat &&
		     s->timestamp_ms - d->last_beat_ms < MIN_BEAT_SEPARATION_MS)) {
			return false;
		}
		d->armed = true;
		d->stroke_ms = s->timestamp_ms;
	}
	if (d->speed > d->peak) {
		d->peak = d->speed;
		d->peak_ms = s->timestamp_ms;
	}
	d->accel_peak = fmaxf(d->accel_peak, acceleration);
	/* The beat is the angular-speed maximum, confirmed once speed has
	 * clearly dropped from it rather than waiting for the stroke to stop.
	 */
	if (d->speed >= d->peak * PEAK_CONFIRM_FRACTION) {
		return false;
	}
	bool accepted = d->accel_peak >= sensitivity_settings[d->sensitivity].min_accel_mg &&
		s->timestamp_ms - d->stroke_ms >= MIN_STROKE_MS &&
		/* Enforce separation on the classified peak times, not merely on
		 * detection/notification time. Exactly 250 ms is allowed.
		 */
		separated(d, d->peak_ms, s->timestamp_ms);
	if (accepted) {
		straight_release(&d->straight);
		d->last_emitted_ms = s->timestamp_ms;
		beat->timestamp_ms = d->peak_ms;
		beat->detected_ms = s->timestamp_ms;
		beat->bpm_tenths = tempo(d, beat->timestamp_ms);
		beat->strength = (uint8_t)fminf(100.0f,
			50.0f * fminf(1.0f, d->peak / 300.0f) +
			50.0f * fminf(1.0f, d->accel_peak / 500.0f));
	}
	d->release_dps = fmaxf(d->peak * sensitivity_settings[d->sensitivity].release_fraction,
			       sensitivity_settings[d->sensitivity].min_stroke_dps);
	clear_stroke(d);
	return accepted;
}
```

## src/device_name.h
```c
#ifndef BATON_DEVICE_NAME_H
#define BATON_DEVICE_NAME_H

#include "name_protocol.h"

int baton_device_name_init(void);
int baton_device_name_request(const uint8_t *name, size_t len);
/* Read value: version, persistence status, followed by last committed UTF-8 name. */
size_t baton_device_name_snapshot(uint8_t value[BATON_NAME_VALUE_MAX]);
void baton_device_name_copy(char name[BATON_NAME_MAX_BYTES + 1]);

#endif
```

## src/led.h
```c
#ifndef MUSICAL_BATON_LED_H
#define MUSICAL_BATON_LED_H

#include <stdbool.h>
#include <stdint.h>

enum led_bluetooth_state {
	LED_BLUETOOTH_OFF,
	LED_BLUETOOTH_ADVERTISING,
	LED_BLUETOOTH_CONNECTED,
};

enum led_battery_state {
	LED_BATTERY_OFF,
	LED_BATTERY_GOOD,
	LED_BATTERY_LOW,
	LED_BATTERY_CRITICAL,
	LED_BATTERY_CHARGING,
};

int led_init(void);
/* Entering/leaving CONNECTED flashes three times before the requested state.
 * Timed work handles the animation; repeated states do not restart it.
 */
void led_set_bluetooth_state(enum led_bluetooth_state state);
void led_set_battery_state(enum led_battery_state state);

/* Charging is blue; >50% green; 20-50% yellow; below 20% red. */
void led_set_battery_level(uint8_t percentage, bool charging);

#endif
```
